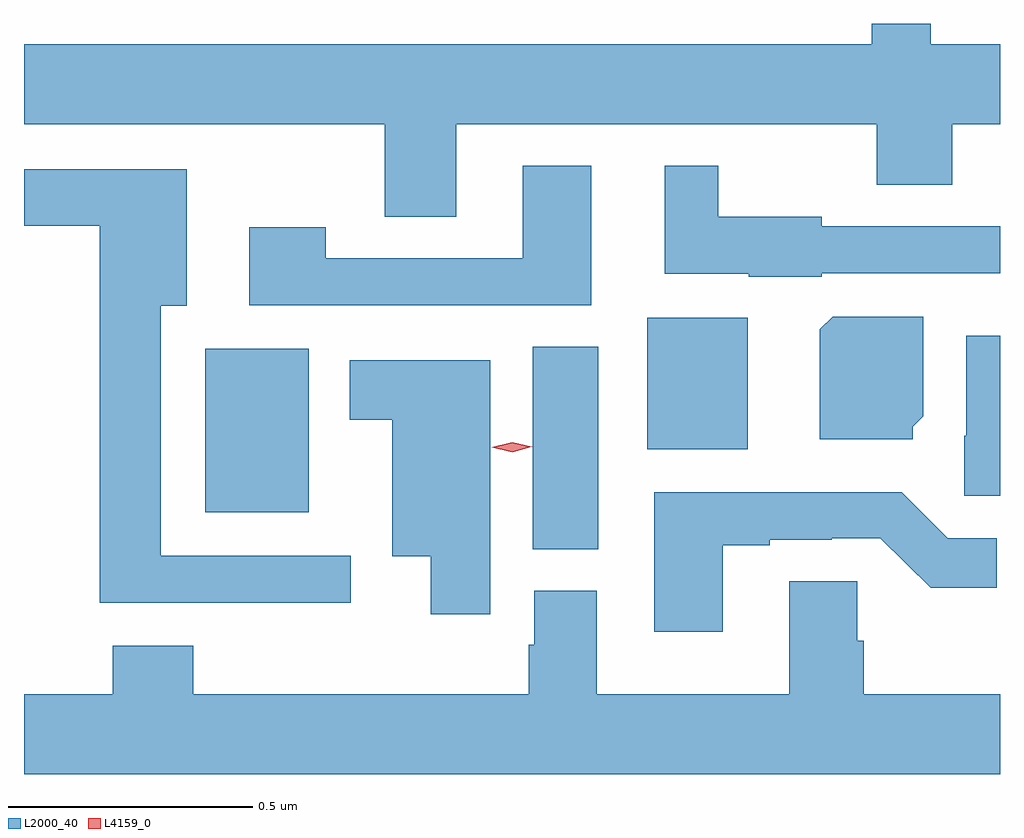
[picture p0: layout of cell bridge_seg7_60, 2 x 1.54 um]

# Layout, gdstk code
import gdstk
lib = gdstk.Library(unit=1e-6, precision=1e-09)
def R(c, l, rs):  # rectangles x0, y0, x1, y1
    for r in rs: c.add(gdstk.rectangle(r[:2], r[2:], *l))
def P(c, l, *ps):  # polygons
    for p in ps: c.add(gdstk.Polygon(p, *l))
L2000_40 = (2000, 40)
L4159_0 = (4159, 0)

bridge_seg7_60 = lib.new_cell('bridge_seg7_60')
R(bridge_seg7_60, L2000_40, [(977.87,1021.057,978.004,1021.472), (977.198,1021.133,977.41,1021.468), (978.104,1021.262,978.31,1021.532)])
P(bridge_seg7_60, L2000_40, [(977.713,1021.928),(978.574,1021.928),(978.574,1021.804),(978.729,1021.804),(978.729,1021.928),(978.827,1021.928),(978.827,1022.092),(978.685,1022.092),(978.685,1022.134),(978.564,1022.134),(978.564,1022.092),(976.827,1022.092),(976.827,1021.928),(977.566,1021.928),(977.566,1021.738),(977.713,1021.738)],
  [(978.462,1021.623),(978.827,1021.623),(978.827,1021.719),(978.462,1021.719),(978.462,1021.738),(978.25,1021.738),(978.25,1021.843),(978.14,1021.843),(978.14,1021.622),(978.312,1021.622),(978.312,1021.616),(978.462,1021.616)],
  [(977.989,1021.843),(977.849,1021.843),(977.849,1021.653),(977.445,1021.653),(977.445,1021.717),(977.289,1021.717),(977.289,1021.557),(977.989,1021.557)],
  [(977.497,1021.044),(977.107,1021.044),(977.107,1021.556),(977.161,1021.556),(977.161,1021.836),(976.827,1021.836),(976.827,1021.72),(976.982,1021.72),(976.982,1020.947),(977.497,1020.947)],
  [(978.648,1021.308),(978.67,1021.33),(978.67,1021.534),(978.484,1021.534),(978.458,1021.508),(978.458,1021.283),(978.648,1021.283)],
  [(978.827,1021.495),(978.758,1021.495),(978.758,1021.29),(978.754,1021.29),(978.754,1021.167),(978.827,1021.167)],
  [(977.782,1021.444),(977.495,1021.444),(977.495,1021.322),(977.582,1021.322),(977.582,1021.043),(977.66,1021.043),(977.66,1020.924),(977.782,1020.924)],
  [(978.259,1021.065),(978.355,1021.065),(978.355,1021.077),(978.482,1021.077),(978.482,1021.08),(978.582,1021.08),(978.685,1020.978),(978.82,1020.978),(978.82,1021.08),(978.72,1021.08),(978.626,1021.174),(978.119,1021.174),(978.119,1020.888),(978.259,1020.888)],
  [(978.827,1020.76),(978.548,1020.76),(978.548,1020.87),(978.534,1020.87),(978.534,1020.992),(978.395,1020.992),(978.395,1020.76),(978.001,1020.76),(978.001,1020.972),(977.873,1020.972),(977.873,1020.861),(977.861,1020.861),(977.861,1020.76),(977.174,1020.76),(977.174,1020.859),(977.009,1020.859),(977.009,1020.76),(976.827,1020.76),(976.827,1020.596),(978.827,1020.596)])
P(bridge_seg7_60, L4159_0, [(977.827,1021.256),(977.786,1021.266),(977.786,1021.266),(977.786,1021.266),(977.827,1021.276),(977.867,1021.267),(977.868,1021.267),(977.867,1021.267)])

lib.write_gds('bridge_seg7_60.gds')
